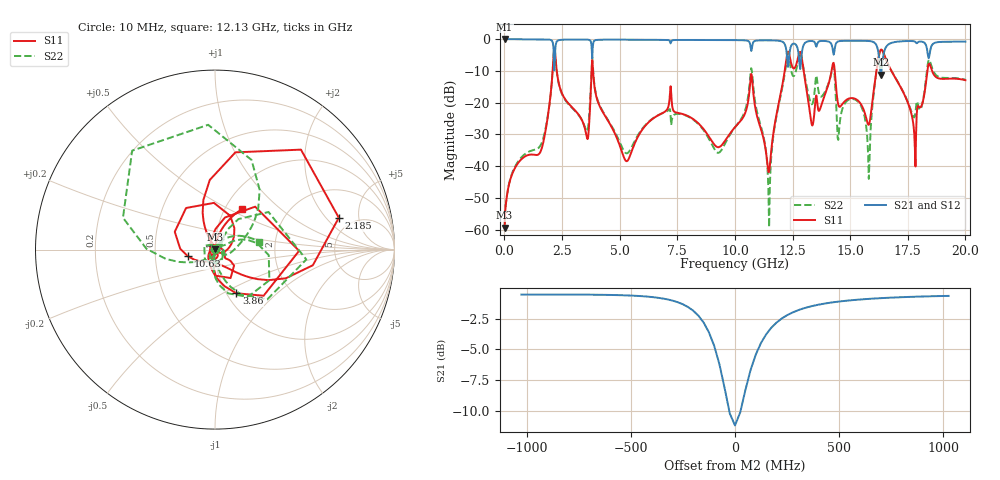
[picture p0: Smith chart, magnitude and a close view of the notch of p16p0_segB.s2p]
! Stitch-density study - 40 x 12 mm symmetric stripline, cut at x=20 mm
! Case: p16p0_segB
! Sweep: 10 MHz - 20 GHz, 25 MHz step, 4 cores
# GHz S MA R 50.000000
! Terminal data exported
! Port[1] = U1.PAD1.SIG
! Port[2] = U2.PAD1.SIG
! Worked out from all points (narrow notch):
!   801 points, 10 MHz to 20 GHz, reference 50 ohm
!   highest |S21| = -0.01 dB at 10 MHz (marker M1); lowest = -11.2 dB at 16.34 GHz (marker M2)
!   notch at M2: 10.8 dB deep, 174 MHz wide at half that depth
!   lowest |S11| = -59.4 dB at 10 MHz (marker M3), VSWR 1.00, Z = 50.1 + j0.0599 ohm
!   |S11| at or under -10 dB: start of sweep to 2.094 GHz; 3.848 GHz to 12.16 GHz (8.314 GHz wide, 104 % of centre); 14.33 GHz to 16.14 GHz (1.81 GHz wide, 11.9 % of centre)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
!   |S22| runs from -59.4 to -2.9 dB; largest |S21 - S12| = 0
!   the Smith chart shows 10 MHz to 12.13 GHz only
!   S11 on the Smith chart (normalised r, x): 10 MHz: 1.00, +0.00; 2.185 GHz: 3.86, +2.78; 3.86 GHz: 1.11, -0.58; 10.63 GHz: 0.74, -0.06; 12.13 GHz: 1.20, +0.59
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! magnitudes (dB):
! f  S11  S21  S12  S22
! 10 MHz  -59.4  0.0  0.0  -59.4
! 1.61 GHz  -34.7  -0.1  -0.1  -32.9
! 2.185 GHz  -2.9  -7.5  -7.5  -3.1
! 3.36 GHz  -25.5  -0.2  -0.2  -25.5
! 3.86 GHz  -11.4  -1.1  -1.1  -10.8
! 5.285 GHz  -38.4  -0.2  -0.2  -36.0
! 6.685 GHz  -24.0  -0.3  -0.3  -23.9
! 10.01 GHz  -27.7  -0.3  -0.3  -27.8
! 10.63 GHz  -16.2  -1.0  -1.0  -14.5
! 11.48 GHz  -41.8  -0.4  -0.4  -59.3
! 12.13 GHz  -11.3  -1.3  -1.3  -12.1
! 12.84 GHz  -4.0  -9.4  -9.4  -4.4
! 13.36 GHz  -27.2  -0.6  -0.6  -20.4
! 14.23 GHz  -8.4  -2.9  -2.9  -9.1
! 14.51 GHz  -21.1  -0.7  -0.7  -29.5
! 15.26 GHz  -19.0  -0.5  -0.5  -19.3
! 15.81 GHz  -27.0  -0.6  -0.6  -44.0
! 16.34 GHz  -3.3  -11.2  -11.2  -3.4
! 16.68 GHz  -8.5  -1.6  -1.6  -8.5
! 17.79 GHz  -30.4  -0.7  -0.7  -24.7
! 18.43 GHz  -7.7  -5.3  -5.3  -6.5
! 20 GHz  -13.0  -0.8  -0.8  -12.8
